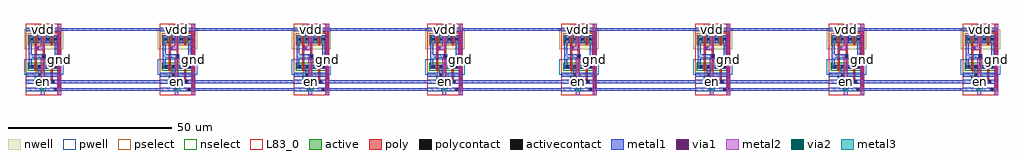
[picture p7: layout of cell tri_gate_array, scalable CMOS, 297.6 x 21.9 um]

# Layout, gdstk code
import gdstk
lib = gdstk.Library(unit=1e-6, precision=1e-09)
def R(c, l, rs):  # rectangles x0, y0, x1, y1
    for r in rs: c.add(gdstk.rectangle(r[:2], r[2:], *l))
def A(c, l, x, y, w, h, nx, ny, dx, dy):  # array of equal rectangles
    R(c, l, [(x+i*dx, y+j*dy, x+i*dx+w, y+j*dy+h) for i in range(nx) for j in range(ny)])
pwell = (41, 0)
nwell = (42, 0)
active = (43, 0)
pselect = (44, 0)
nselect = (45, 0)
poly = (46, 0)
polycontact = (47, 0)
activecontact = (48, 0)
metal1 = (49, 0)
via1 = (50, 0)
metal2 = (51, 0)
via2 = (61, 0)
metal3 = (62, 0)
L83_0 = (83, 0)

tri_gate = lib.new_cell('tri_gate')
R(tri_gate, pwell, [(2.7,4.8,5.7,6.3), (-0.6,6.3,11.4,11.1)])
R(tri_gate, nwell, [(-0.6,14.1,11.4,20.1), (2.7,20.1,5.7,21.6)])
R(tri_gate, active, [(3.6,5.7,4.8,6.9), (1.2,8.1,9.6,9.3), (1.2,15.9,9.6,18.3), (3.6,19.5,4.8,20.7)])
R(tri_gate, pselect, [(3,5.1,5.4,7.5), (0.6,15.3,10.2,18.9)])
R(tri_gate, nselect, [(0.6,7.5,10.2,9.9), (3,18.9,5.4,21.3)])
R(tri_gate, poly, [(8.4,1.2,9.6,1.8), (8.4,1.8,10.5,2.4), (9.9,2.4,10.5,18.9), (7.5,3.6,8.7,4.8), (7.5,4.8,8.1,9.9), (2.7,7.5,3.3,13.8), (5.1,7.5,5.7,11.4), (4.8,11.4,6,12.6), (5.1,12.6,5.7,18.9), (2.7,13.8,3.9,15), (2.7,15,3.3,18.9), (7.5,15.3,8.1,18.9), (7.5,18.9,10.5,19.5)])
R(tri_gate, polycontact, [(8.7,1.5,9.3,2.1), (7.8,3.9,8.4,4.5), (5.1,11.7,5.7,12.3), (3,14.1,3.6,14.7)])
A(tri_gate, activecontact, 1.5, 8.4, 0.6, 0.6, 4, 2, 2.4, 8.4)
R(tri_gate, activecontact, [(3.9,6,4.5,6.6), (3.9,19.8,4.5,20.4)])
R(tri_gate, metal1, [(0,1.2,10.8,2.4), (0,3.6,10.8,4.8), (0,5.7,10.8,6.9), (3.6,6.9,4.8,9.3), (0.9,8.1,2.4,9.3), (6,8.1,7.2,9.3), (8.4,8.1,9.6,9.3), (0.9,9.3,1.8,11.4), (8.7,9.3,9.6,10.2), (7.5,10.2,9.6,11.4), (0.9,11.4,6,12.6), (8.7,11.4,9.6,15.9), (0.9,12.6,1.8,15.9), (2.7,13.8,3.9,15), (0.9,15.9,2.4,18.3), (3.6,15.9,4.8,19.5), (6,15.9,7.2,18.3), (8.4,15.9,9.6,18.3), (0,19.5,10.8,20.7)])
R(tri_gate, via1, [(9.9,6,10.5,6.6), (7.8,10.5,8.4,11.1), (3,14.1,3.6,14.7)])
R(tri_gate, metal2, [(4.5,0,5.7,1.5), (9.6,0,10.8,21.9), (4.5,1.5,6,2.7), (4.5,2.7,5.7,10.2), (4.5,10.2,8.7,11.4), (2.7,13.8,5.7,15), (4.5,15,5.7,21.9)])
R(tri_gate, via2, [(4.8,1.8,5.4,2.4)])
R(tri_gate, metal3, [(4.2,1.2,6,3)])
R(tri_gate, L83_0, [(0,0,10.2,21.9)])
tri_gate.add(gdstk.Label('gnd', (9.6,0), layer=51, texttype=0))
tri_gate.add(gdstk.Label('out', (4.5,0), layer=51, texttype=0))
tri_gate.add(gdstk.Label('in', (4.5,21.9), layer=51, texttype=0))
tri_gate.add(gdstk.Label('vdd', (0,19.5), layer=49, texttype=0))
tri_gate.add(gdstk.Label('en', (0,3.6), layer=49, texttype=0))
tri_gate.add(gdstk.Label('en_bar', (0,1.2), layer=49, texttype=0))

tri_gate_array = lib.new_cell('tri_gate_array')
R(tri_gate_array, metal1, [(0,1.35,295.8,2.25), (0,3.75,295.8,4.65), (0,19.65,295.8,20.55)])
tri_gate_array.add(gdstk.Reference(tri_gate, (0,0)))
tri_gate_array.add(gdstk.Reference(tri_gate, (40.8,0)))
tri_gate_array.add(gdstk.Reference(tri_gate, (81.6,0)))
tri_gate_array.add(gdstk.Reference(tri_gate, (122.4,0)))
tri_gate_array.add(gdstk.Reference(tri_gate, (163.2,0)))
tri_gate_array.add(gdstk.Reference(tri_gate, (204,0)))
tri_gate_array.add(gdstk.Reference(tri_gate, (244.8,0)))
tri_gate_array.add(gdstk.Reference(tri_gate, (285.6,0)))
tri_gate_array.add(gdstk.Label('en', (5.4,4.2), layer=49, texttype=0))
tri_gate_array.add(gdstk.Label('en_bar', (5.4,1.8), layer=49, texttype=0))
tri_gate_array.add(gdstk.Label('vdd', (5.4,20.1), layer=49, texttype=0))
tri_gate_array.add(gdstk.Label('gnd', (10.2,10.95), layer=51, texttype=0))
tri_gate_array.add(gdstk.Label('tri_in[0]', (5.1,18.45), layer=51, texttype=0))
tri_gate_array.add(gdstk.Label('DATA[0]', (5.1,0.75), layer=51, texttype=0))
tri_gate_array.add(gdstk.Label('en', (46.2,4.2), layer=49, texttype=0))
tri_gate_array.add(gdstk.Label('en_bar', (46.2,1.8), layer=49, texttype=0))
tri_gate_array.add(gdstk.Label('vdd', (46.2,20.1), layer=49, texttype=0))
tri_gate_array.add(gdstk.Label('gnd', (51,10.95), layer=51, texttype=0))
tri_gate_array.add(gdstk.Label('tri_in[1]', (45.9,18.45), layer=51, texttype=0))
tri_gate_array.add(gdstk.Label('DATA[1]', (45.9,0.75), layer=51, texttype=0))
tri_gate_array.add(gdstk.Label('en', (87,4.2), layer=49, texttype=0))
tri_gate_array.add(gdstk.Label('en_bar', (87,1.8), layer=49, texttype=0))
tri_gate_array.add(gdstk.Label('vdd', (87,20.1), layer=49, texttype=0))
tri_gate_array.add(gdstk.Label('gnd', (91.8,10.95), layer=51, texttype=0))
tri_gate_array.add(gdstk.Label('tri_in[2]', (86.7,18.45), layer=51, texttype=0))
tri_gate_array.add(gdstk.Label('DATA[2]', (86.7,0.75), layer=51, texttype=0))
tri_gate_array.add(gdstk.Label('en', (127.8,4.2), layer=49, texttype=0))
tri_gate_array.add(gdstk.Label('en_bar', (127.8,1.8), layer=49, texttype=0))
tri_gate_array.add(gdstk.Label('vdd', (127.8,20.1), layer=49, texttype=0))
tri_gate_array.add(gdstk.Label('gnd', (132.6,10.95), layer=51, texttype=0))
tri_gate_array.add(gdstk.Label('tri_in[3]', (127.5,18.45), layer=51, texttype=0))
tri_gate_array.add(gdstk.Label('DATA[3]', (127.5,0.75), layer=51, texttype=0))
tri_gate_array.add(gdstk.Label('en', (168.6,4.2), layer=49, texttype=0))
tri_gate_array.add(gdstk.Label('en_bar', (168.6,1.8), layer=49, texttype=0))
tri_gate_array.add(gdstk.Label('vdd', (168.6,20.1), layer=49, texttype=0))
tri_gate_array.add(gdstk.Label('gnd', (173.4,10.95), layer=51, texttype=0))
tri_gate_array.add(gdstk.Label('tri_in[4]', (168.3,18.45), layer=51, texttype=0))
tri_gate_array.add(gdstk.Label('DATA[4]', (168.3,0.75), layer=51, texttype=0))
tri_gate_array.add(gdstk.Label('en', (209.4,4.2), layer=49, texttype=0))
tri_gate_array.add(gdstk.Label('en_bar', (209.4,1.8), layer=49, texttype=0))
tri_gate_array.add(gdstk.Label('vdd', (209.4,20.1), layer=49, texttype=0))
tri_gate_array.add(gdstk.Label('gnd', (214.2,10.95), layer=51, texttype=0))
tri_gate_array.add(gdstk.Label('tri_in[5]', (209.1,18.45), layer=51, texttype=0))
tri_gate_array.add(gdstk.Label('DATA[5]', (209.1,0.75), layer=51, texttype=0))
tri_gate_array.add(gdstk.Label('en', (250.2,4.2), layer=49, texttype=0))
tri_gate_array.add(gdstk.Label('en_bar', (250.2,1.8), layer=49, texttype=0))
tri_gate_array.add(gdstk.Label('vdd', (250.2,20.1), layer=49, texttype=0))
tri_gate_array.add(gdstk.Label('gnd', (255,10.95), layer=51, texttype=0))
tri_gate_array.add(gdstk.Label('tri_in[6]', (249.9,18.45), layer=51, texttype=0))
tri_gate_array.add(gdstk.Label('DATA[6]', (249.9,0.75), layer=51, texttype=0))
tri_gate_array.add(gdstk.Label('en', (291,4.2), layer=49, texttype=0))
tri_gate_array.add(gdstk.Label('en_bar', (291,1.8), layer=49, texttype=0))
tri_gate_array.add(gdstk.Label('vdd', (291,20.1), layer=49, texttype=0))
tri_gate_array.add(gdstk.Label('gnd', (295.8,10.95), layer=51, texttype=0))
tri_gate_array.add(gdstk.Label('tri_in[7]', (290.7,18.45), layer=51, texttype=0))
tri_gate_array.add(gdstk.Label('DATA[7]', (290.7,0.75), layer=51, texttype=0))
tri_gate_array.add(gdstk.Label('tri gate', (40.8,10.95), layer=83, texttype=0))

lib.write_gds('tri_gate_array.gds')
